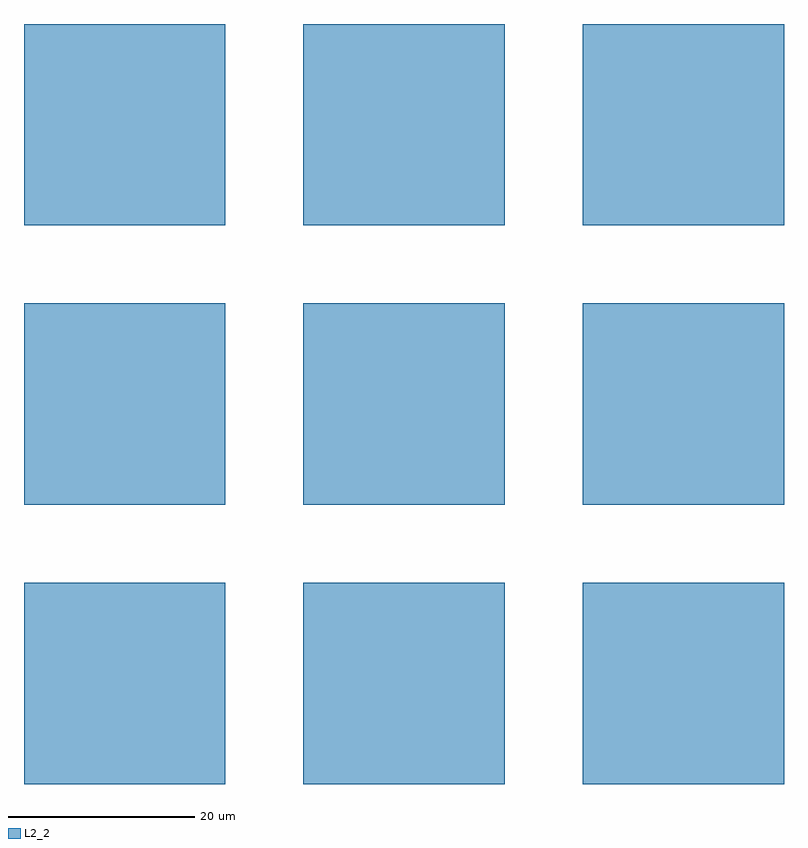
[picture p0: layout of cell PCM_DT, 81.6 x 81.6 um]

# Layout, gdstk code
import gdstk
lib = gdstk.Library(unit=1e-6, precision=1e-09)
def P(c, l, *ps):  # polygons
    for p in ps: c.add(gdstk.Polygon(p, *l))
L2_2 = (2, 2)

pcm_dt = lib.new_cell('PCM_DT')
P(pcm_dt, L2_2, [(78.2,61.2),(78.2,82.8),(99.8,82.8),(99.8,61.2),(78.2,61.2)],
  [(78.2,31.2),(78.2,52.8),(99.8,52.8),(99.8,31.2),(78.2,31.2)],
  [(78.2,91.2),(78.2,112.8),(99.8,112.8),(99.8,91.2),(78.2,91.2)],
  [(48.2,91.2),(48.2,112.8),(69.8,112.8),(69.8,91.2),(48.2,91.2)],
  [(18.2,91.2),(18.2,112.8),(39.8,112.8),(39.8,91.2),(18.2,91.2)],
  [(48.2,61.2),(48.2,82.8),(69.8,82.8),(69.8,61.2),(48.2,61.2)],
  [(48.2,31.2),(48.2,52.8),(69.8,52.8),(69.8,31.2),(48.2,31.2)],
  [(18.2,31.2),(18.2,52.8),(39.8,52.8),(39.8,31.2),(18.2,31.2)],
  [(18.2,61.2),(18.2,82.8),(39.8,82.8),(39.8,61.2),(18.2,61.2)])

lib.write_gds('PCM_DT.gds')
